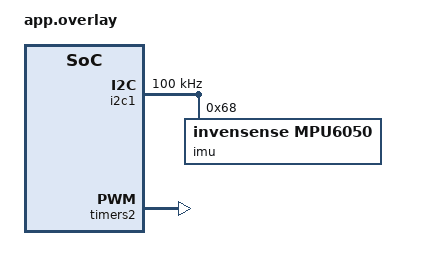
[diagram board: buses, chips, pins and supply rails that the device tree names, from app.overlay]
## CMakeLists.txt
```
# SPDX-License-Identifier: Apache-2.0

cmake_minimum_required(VERSION 3.20.0)

find_package(Zephyr REQUIRED HINTS $ENV{ZEPHYR_BASE})
project(hello_world)

target_sources(app PRIVATE
    src/main.c
    src/PI_Controller.c
)
```

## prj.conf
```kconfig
# Added automatically by Workbench for Zephyr
#--- DEBUG PRESET - BEGIN ---#
# Set to -Og
CONFIG_DEBUG_OPTIMIZATIONS=y
# Thread awareness support
CONFIG_DEBUG_THREAD_INFO=y
# Generate stack usage per-function
CONFIG_STACK_USAGE=y
# Other options in case not set by default
CONFIG_BUILD_OUTPUT_HEX=y
CONFIG_BUILD_OUTPUT_META=y
CONFIG_OUTPUT_SYMBOLS=y
CONFIG_OUTPUT_STAT=y
CONFIG_OUTPUT_DISASSEMBLY=y
CONFIG_OUTPUT_PRINT_MEMORY_USAGE=y
CONFIG_I2C=y
CONFIG_SENSOR=y
CONFIG_MPU6050_TRIGGER_NONE=y
CONFIG_CBPRINTF_FP_SUPPORT=y
CONFIG_PWM=y
#--- DEBUG PRESET - END ---#
```

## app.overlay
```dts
&i2c1{
status = "okay";
clock-frequency = <100000>;
	imu: mpu6050@68{
		status = "okay";
		compatible = "invensense,mpu6050";
		reg = <0x68>;
	};
};



&timers2{
status = "okay";

	pwm2: pwm{
		status = "okay";

		pinctrl-0 = <
		&tim2_ch1_pa0
		&tim2_ch2_pa1
		&tim2_ch3_pa2
		&tim2_ch4_pa3
		>;

		pinctrl-names = "default";
	};
};
```

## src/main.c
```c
/*
 * Copyright (c) 2012-2014 Wind River Systems, Inc.
 *
 * SPDX-License-Identifier: Apache-2.0
 */

#include <stdio.h>
#include "PI_Controller.h"
#include <zephyr/kernel.h>
#include <zephyr/drivers/sensor.h>
#include <zephyr/drivers/pwm.h>

#define CONTROL_TASK_STACK_SIZE 1024
#define CONTROL_TASK_PRIORITY 3

#define PRINT_TASK_SIZE 1024
#define PRINT_TASK_PRIORITY 7

void Control_Task(void *p1, void *p2, void *p3);
void Print_Task(void *p1, void *p2, void *p3);

struct k_thread Control_Task_TCB;
k_tid_t Control_Task_ID;

struct k_thread Print_Task_TCB;
k_tid_t Print_Task_ID;

typedef struct{
	struct sensor_value gyro[3];
	struct sensor_value acc[3];
}imu;

imu myIMU = {0};

const struct device *imu_dev = DEVICE_DT_GET_ONE(invensense_mpu6050);
const struct device *pwm_dev = DEVICE_DT_GET(DT_NODELABEL(pwm2));

K_THREAD_STACK_DEFINE(Control_Task_Stack, CONTROL_TASK_STACK_SIZE);
K_THREAD_STACK_DEFINE(Print_Task_Stack, PRINT_TASK_SIZE);

uint32_t period = PWM_HZ(50);
int pulse_width_us = 1500;

int main(void)
{
	PI_Controller_initialize();

	Control_Task_ID = k_thread_create(
		&Control_Task_TCB,
		Control_Task_Stack,
		K_THREAD_STACK_SIZEOF(Control_Task_Stack),
		Control_Task,
		NULL,
		NULL,
		NULL,
		CONTROL_TASK_PRIORITY,
		0,
		K_NO_WAIT
	);

	Print_Task_ID = k_thread_create(
		&Print_Task_TCB,
		Print_Task_Stack,
		K_THREAD_STACK_SIZEOF(Print_Task_Stack),
		Print_Task,
		NULL,
		NULL,
		NULL,
		PRINT_TASK_PRIORITY,
		0,
		K_NO_WAIT
	);


	pwm_set(
		pwm_dev,
		1,
		period,
		PWM_USEC(1500),
		PWM_POLARITY_NORMAL
	);


	return 0;
}

void Control_Task(void *p1, void *p2, void *p3){

double filtered_acc = sensor_value_to_double(&myIMU.acc[1]);

	for(;;){

	int64_t start = k_uptime_get();
	
	//Check if IMU read is successful
	if(sensor_sample_fetch(imu_dev) == 0){
		
		sensor_channel_get(
			imu_dev,
			SENSOR_CHAN_GYRO_XYZ,
			myIMU.gyro
		);
		sensor_channel_get(
			imu_dev,
			SENSOR_CHAN_ACCEL_XYZ,
			myIMU.acc
		);

	
	
	filtered_acc = (0.9 * filtered_acc) + 0.1 * (sensor_value_to_double(&myIMU.acc[1]) + 0.5);

	PI_Controller_U.Gravity_ref = 0;
	PI_Controller_U.Gravity_meas = filtered_acc;
	
	PI_Controller_step();

	pulse_width_us = 1500 - PI_Controller_Y.Out1;

	if(pulse_width_us > 1900){
		pulse_width_us = 1900;
	}

	if(pulse_width_us < 1100){
		pulse_width_us = 1100;
	}

	pwm_set(
		pwm_dev,
		1,
		period,
		PWM_USEC(pulse_width_us),
		PWM_POLARITY_NORMAL
	);
	
	}

	int64_t end = k_uptime_get();

	k_msleep(10 - (end - start));
}

}





void Print_Task(void *p1, void *p2, void *p3){
for(;;){

	printf("Pulse Width: %d us \n", pulse_width_us);

	k_msleep(1000);

}

}
```

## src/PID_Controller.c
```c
/*
 * Academic License - for use in teaching, academic research, and meeting
 * course requirements at degree granting institutions only.  Not for
 * government, commercial, or other organizational use.
 *
 * File: PID_Controller.c
 *
 * Code generated for Simulink model 'PID_Controller'.
 *
 * Model version                  : 4.6
 * Simulink Coder version         : 26.1 (R2026a) 20-Nov-2025
 * C/C++ source code generated on : Sat Aug 22 16:41:52 2026
 *
 * Target selection: ert.tlc
 * Embedded hardware selection: ARM Compatible->ARM Cortex-M
 * Code generation objectives: Unspecified
 * Validation result: Not run
 */

#include "PID_Controller.h"
#include "rtwtypes.h"
#include "PID_Controller_private.h"

/* Block states (default storage) */
DW_PID_Controller_T PID_Controller_DW;

/* External inputs (root inport signals with default storage) */
ExtU_PID_Controller_T PID_Controller_U;

/* External outputs (root outports fed by signals with default storage) */
ExtY_PID_Controller_T PID_Controller_Y;

/* Real-time model */
static RT_MODEL_PID_Controller_T PID_Controller_M_;
RT_MODEL_PID_Controller_T *const PID_Controller_M = &PID_Controller_M_;

/* Output and update for atomic system: '<Root>/PID_Controller' */
real_T PID_Controller_PID_Controller(real_T rtu_Theta_ref, real_T rtu_Theta_meas,
  DW_PID_Controller_PID_Control_T *localDW)
{
  real_T rty_Out1_0;
  real_T rtb_FilterCoefficient;
  real_T rtb_Sum_a;

  /* Sum: '<S1>/Sum' */
  rtb_Sum_a = rtu_Theta_ref - rtu_Theta_meas;

  /* Gain: '<S40>/Filter Coefficient' incorporates:
   *  DiscreteIntegrator: '<S32>/Filter'
   *  Sum: '<S32>/SumD'
   */
  rtb_FilterCoefficient = (rtb_Sum_a - localDW->Filter_DSTATE) * 100.0;

  /* Sum: '<S46>/Sum' incorporates:
   *  DiscreteIntegrator: '<S37>/Integrator'
   *  Gain: '<S42>/Proportional Gain'
   */
  rty_Out1_0 = (120.0 * rtb_Sum_a + localDW->Integrator_DSTATE);

  /* Update for DiscreteIntegrator: '<S32>/Filter' */
  localDW->Filter_DSTATE += 0.01 * rtb_FilterCoefficient;

  /* Update for DiscreteIntegrator: '<S37>/Integrator' */
  localDW->Integrator_DSTATE += 0.01 * rtb_Sum_a;
  return rty_Out1_0;
}

/* Model step function */
void PID_Controller_step(void)
{
  /* Outputs for Atomic SubSystem: '<Root>/PID_Controller' */

  /* Outport: '<Root>/Out1' incorporates:
   *  Inport: '<Root>/Theta_meas'
   *  Inport: '<Root>/Theta_ref'
   */
  PID_Controller_Y.Out1 = PID_Controller_PID_Controller
    (PID_Controller_U.Theta_ref, PID_Controller_U.Theta_meas,
     &PID_Controller_DW.PID_Controller_p);

  /* End of Outputs for SubSystem: '<Root>/PID_Controller' */
}

/* Model initialize function */
void PID_Controller_initialize(void)
{
  /* (no initialization code required) */
}

/* Model terminate function */
void PID_Controller_terminate(void)
{
  /* (no terminate code required) */
}

/*
 * File trailer for generated code.
 *
 * [EOF]
 */
```

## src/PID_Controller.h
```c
/*
 * Academic License - for use in teaching, academic research, and meeting
 * course requirements at degree granting institutions only.  Not for
 * government, commercial, or other organizational use.
 *
 * File: PID_Controller.h
 *
 * Code generated for Simulink model 'PID_Controller'.
 *
 * Model version                  : 4.6
 * Simulink Coder version         : 26.1 (R2026a) 20-Nov-2025
 * C/C++ source code generated on : Sat Aug 22 16:41:52 2026
 *
 * Target selection: ert.tlc
 * Embedded hardware selection: ARM Compatible->ARM Cortex-M
 * Code generation objectives: Unspecified
 * Validation result: Not run
 */

#ifndef PID_Controller_h_
#define PID_Controller_h_
#ifndef PID_Controller_COMMON_INCLUDES_
#define PID_Controller_COMMON_INCLUDES_
#include "rtwtypes.h"
#include "math.h"
#endif                                 /* PID_Controller_COMMON_INCLUDES_ */

#include "PID_Controller_types.h"

/* Macros for accessing real-time model data structure */
#ifndef rtmGetErrorStatus
#define rtmGetErrorStatus(rtm)         ((rtm)->errorStatus)
#endif

#ifndef rtmSetErrorStatus
#define rtmSetErrorStatus(rtm, val)    ((rtm)->errorStatus = (val))
#endif

/* Block states (default storage) for system '<Root>/PID_Controller' */
typedef struct {
  real_T Filter_DSTATE;                /* '<S32>/Filter' */
  real_T Integrator_DSTATE;            /* '<S37>/Integrator' */
} DW_PID_Controller_PID_Control_T;

/* Block states (default storage) for system '<Root>' */
typedef struct {
  DW_PID_Controller_PID_Control_T PID_Controller_p;/* '<Root>/PID_Controller' */
} DW_PID_Controller_T;

/* External inputs (root inport signals with default storage) */
typedef struct {
  real_T Theta_ref;                    /* '<Root>/Theta_ref' */
  real_T Theta_meas;                   /* '<Root>/Theta_meas' */
} ExtU_PID_Controller_T;

/* External outputs (root outports fed by signals with default storage) */
typedef struct {
  real_T Out1;                         /* '<Root>/Out1' */
} ExtY_PID_Controller_T;

/* Real-time Model Data Structure */
struct tag_RTM_PID_Controller_T {
  const char_T * volatile errorStatus;
};

/* Block states (default storage) */
extern DW_PID_Controller_T PID_Controller_DW;

/* External inputs (root inport signals with default storage) */
extern ExtU_PID_Controller_T PID_Controller_U;

/* External outputs (root outports fed by signals with default storage) */
extern ExtY_PID_Controller_T PID_Controller_Y;

/* Model entry point functions */
extern void PID_Controller_initialize(void);
extern void PID_Controller_step(void);
extern void PID_Controller_terminate(void);

/* Real-time Model object */
extern RT_MODEL_PID_Controller_T *const PID_Controller_M;

/*-
 * These blocks were eliminated from the model due to optimizations:
 *
 * Block '<S30>/Derivative Gain' : Eliminated nontunable gain of 1
 * Block '<S34>/Integral Gain' : Eliminated nontunable gain of 1
 */

/*-
 * The generated code includes comments that allow you to trace directly
 * back to the appropriate location in the model.  The basic format
 * is <system>/block_name, where system is the system number (uniquely
 * assigned by Simulink) and block_name is the name of the block.
 *
 * Note that this particular code originates from a subsystem build,
 * and has its own system numbers different from the parent model.
 * Refer to the system hierarchy for this subsystem below, and use the
 * MATLAB hilite_system command to trace the generated code back
 * to the parent model.  For example,
 *
 * hilite_system('QuadCopter_Cascade_PID/PID_Controller')    - opens subsystem QuadCopter_Cascade_PID/PID_Controller
 * hilite_system('QuadCopter_Cascade_PID/PID_Controller/Kp') - opens and selects block Kp
 *
 * Here is the system hierarchy for this model
 *
 * '<Root>' : 'QuadCopter_Cascade_PID'
 * '<S1>'   : 'QuadCopter_Cascade_PID/PID_Controller'
 * '<S2>'   : 'QuadCopter_Cascade_PID/PID_Controller/PID Controller'
 * '<S3>'   : 'QuadCopter_Cascade_PID/PID_Controller/PID Controller/Anti-windup'
 * '<S4>'   : 'QuadCopter_Cascade_PID/PID_Controller/PID Controller/D Gain'
 * '<S5>'   : 'QuadCopter_Cascade_PID/PID_Controller/PID Controller/External Derivative'
 * '<S6>'   : 'QuadCopter_Cascade_PID/PID_Controller/PID Controller/Filter'
 * '<S7>'   : 'QuadCopter_Cascade_PID/PID_Controller/PID Controller/Filter ICs'
 * '<S8>'   : 'QuadCopter_Cascade_PID/PID_Controller/PID Controller/I Gain'
 * '<S9>'   : 'QuadCopter_Cascade_PID/PID_Controller/PID Controller/Ideal P Gain'
 * '<S10>'  : 'QuadCopter_Cascade_PID/PID_Controller/PID Controller/Ideal P Gain Fdbk'
 * '<S11>'  : 'QuadCopter_Cascade_PID/PID_Controller/PID Controller/Integrator'
 * '<S12>'  : 'QuadCopter_Cascade_PID/PID_Controller/PID Controller/Integrator ICs'
 * '<S13>'  : 'QuadCopter_Cascade_PID/PID_Controller/PID Controller/N Copy'
 * '<S14>'  : 'QuadCopter_Cascade_PID/PID_Controller/PID Controller/N Gain'
 * '<S15>'  : 'QuadCopter_Cascade_PID/PID_Controller/PID Controller/P Copy'
 * '<S16>'  : 'QuadCopter_Cascade_PID/PID_Controller/PID Controller/Parallel P Gain'
 * '<S17>'  : 'QuadCopter_Cascade_PID/PID_Controller/PID Controller/Reset Signal'
 * '<S18>'  : 'QuadCopter_Cascade_PID/PID_Controller/PID Controller/Saturation'
 * '<S19>'  : 'QuadCopter_Cascade_PID/PID_Controller/PID Controller/Saturation Fdbk'
 * '<S20>'  : 'QuadCopter_Cascade_PID/PID_Controller/PID Controller/Sum'
 * '<S21>'  : 'QuadCopter_Cascade_PID/PID_Controller/PID Controller/Sum Fdbk'
 * '<S22>'  : 'QuadCopter_Cascade_PID/PID_Controller/PID Controller/Tracking Mode'
 * '<S23>'  : 'QuadCopter_Cascade_PID/PID_Controller/PID Controller/Tracking Mode Sum'
 * '<S24>'  : 'QuadCopter_Cascade_PID/PID_Controller/PID Controller/Tsamp - Integral'
 * '<S25>'  : 'QuadCopter_Cascade_PID/PID_Controller/PID Controller/Tsamp - Ngain'
 * '<S26>'  : 'QuadCopter_Cascade_PID/PID_Controller/PID Controller/postSat Signal'
 * '<S27>'  : 'QuadCopter_Cascade_PID/PID_Controller/PID Controller/preInt Signal'
 * '<S28>'  : 'QuadCopter_Cascade_PID/PID_Controller/PID Controller/preSat Signal'
 * '<S29>'  : 'QuadCopter_Cascade_PID/PID_Controller/PID Controller/Anti-windup/Passthrough'
 * '<S30>'  : 'QuadCopter_Cascade_PID/PID_Controller/PID Controller/D Gain/Internal Parameters'
 * '<S31>'  : 'QuadCopter_Cascade_PID/PID_Controller/PID Controller/External Derivative/Error'
 * '<S32>'  : 'QuadCopter_Cascade_PID/PID_Controller/PID Controller/Filter/Disc. Forward Euler Filter'
 * '<S33>'  : 'QuadCopter_Cascade_PID/PID_Controller/PID Controller/Filter ICs/Internal IC - Filter'
 * '<S34>'  : 'QuadCopter_Cascade_PID/PID_Controller/PID Controller/I Gain/Internal Parameters'
 * '<S35>'  : 'QuadCopter_Cascade_PID/PID_Controller/PID Controller/Ideal P Gain/Passthrough'
 * '<S36>'  : 'QuadCopter_Cascade_PID/PID_Controller/PID Controller/Ideal P Gain Fdbk/Disabled'
 * '<S37>'  : 'QuadCopter_Cascade_PID/PID_Controller/PID Controller/Integrator/Discrete'
 * '<S38>'  : 'QuadCopter_Cascade_PID/PID_Controller/PID Controller/Integrator ICs/Internal IC'
 * '<S39>'  : 'QuadCopter_Cascade_PID/PID_Controller/PID Controller/N Copy/Disabled'
 * '<S40>'  : 'QuadCopter_Cascade_PID/PID_Controller/PID Controller/N Gain/Internal Parameters'
 * '<S41>'  : 'QuadCopter_Cascade_PID/PID_Controller/PID Controller/P Copy/Disabled'
 * '<S42>'  : 'QuadCopter_Cascade_PID/PID_Controller/PID Controller/Parallel P Gain/Internal Parameters'
 * '<S43>'  : 'QuadCopter_Cascade_PID/PID_Controller/PID Controller/Reset Signal/Disabled'
 * '<S44>'  : 'QuadCopter_Cascade_PID/PID_Controller/PID Controller/Saturation/Passthrough'
 * '<S45>'  : 'QuadCopter_Cascade_PID/PID_Controller/PID Controller/Saturation Fdbk/Disabled'
 * '<S46>'  : 'QuadCopter_Cascade_PID/PID_Controller/PID Controller/Sum/Sum_PID'
 * '<S47>'  : 'QuadCopter_Cascade_PID/PID_Controller/PID Controller/Sum Fdbk/Disabled'
 * '<S48>'  : 'QuadCopter_Cascade_PID/PID_Controller/PID Controller/Tracking Mode/Disabled'
 * '<S49>'  : 'QuadCopter_Cascade_PID/PID_Controller/PID Controller/Tracking Mode Sum/Passthrough'
 * '<S50>'  : 'QuadCopter_Cascade_PID/PID_Controller/PID Controller/Tsamp - Integral/TsSignalSpecification'
 * '<S51>'  : 'QuadCopter_Cascade_PID/PID_Controller/PID Controller/Tsamp - Ngain/Passthrough'
 * '<S52>'  : 'QuadCopter_Cascade_PID/PID_Controller/PID Controller/postSat Signal/Forward_Path'
 * '<S53>'  : 'QuadCopter_Cascade_PID/PID_Controller/PID Controller/preInt Signal/Internal PreInt'
 * '<S54>'  : 'QuadCopter_Cascade_PID/PID_Controller/PID Controller/preSat Signal/Forward_Path'
 */
#endif                                 /* PID_Controller_h_ */

/*
 * File trailer for generated code.
 *
 * [EOF]
 */
```

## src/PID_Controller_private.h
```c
/*
 * Academic License - for use in teaching, academic research, and meeting
 * course requirements at degree granting institutions only.  Not for
 * government, commercial, or other organizational use.
 *
 * File: PID_Controller_private.h
 *
 * Code generated for Simulink model 'PID_Controller'.
 *
 * Model version                  : 4.6
 * Simulink Coder version         : 26.1 (R2026a) 20-Nov-2025
 * C/C++ source code generated on : Sat Aug 22 16:41:52 2026
 *
 * Target selection: ert.tlc
 * Embedded hardware selection: ARM Compatible->ARM Cortex-M
 * Code generation objectives: Unspecified
 * Validation result: Not run
 */

#ifndef PID_Controller_private_h_
#define PID_Controller_private_h_
#include "rtwtypes.h"
#include "PID_Controller.h"
#include "PID_Controller_types.h"

extern real_T PID_Controller_PID_Controller(real_T rtu_Theta_ref, real_T
  rtu_Theta_meas, DW_PID_Controller_PID_Control_T *localDW);

#endif                                 /* PID_Controller_private_h_ */

/*
 * File trailer for generated code.
 *
 * [EOF]
 */
```

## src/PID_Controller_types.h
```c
/*
 * Academic License - for use in teaching, academic research, and meeting
 * course requirements at degree granting institutions only.  Not for
 * government, commercial, or other organizational use.
 *
 * File: PID_Controller_types.h
 *
 * Code generated for Simulink model 'PID_Controller'.
 *
 * Model version                  : 4.6
 * Simulink Coder version         : 26.1 (R2026a) 20-Nov-2025
 * C/C++ source code generated on : Sat Aug 22 16:41:52 2026
 *
 * Target selection: ert.tlc
 * Embedded hardware selection: ARM Compatible->ARM Cortex-M
 * Code generation objectives: Unspecified
 * Validation result: Not run
 */

#ifndef PID_Controller_types_h_
#define PID_Controller_types_h_

/* Forward declaration for rtModel */
typedef struct tag_RTM_PID_Controller_T RT_MODEL_PID_Controller_T;

#endif                                 /* PID_Controller_types_h_ */

/*
 * File trailer for generated code.
 *
 * [EOF]
 */
```

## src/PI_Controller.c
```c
/*
 * Academic License - for use in teaching, academic research, and meeting
 * course requirements at degree granting institutions only.  Not for
 * government, commercial, or other organizational use.
 *
 * File: PI_Controller.c
 *
 * Code generated for Simulink model 'PI_Controller'.
 *
 * Model version                  : 4.7
 * Simulink Coder version         : 26.1 (R2026a) 20-Nov-2025
 * C/C++ source code generated on : Sun Aug 23 11:51:17 2026
 *
 * Target selection: ert.tlc
 * Embedded hardware selection: ARM Compatible->ARM Cortex-M
 * Code generation objectives: Unspecified
 * Validation result: Not run
 */

#include "PI_Controller.h"
#include "rtwtypes.h"
#include "PI_Controller_private.h"

/* Block states (default storage) */
DW_PI_Controller_T PI_Controller_DW;

/* External inputs (root inport signals with default storage) */
ExtU_PI_Controller_T PI_Controller_U;

/* External outputs (root outports fed by signals with default storage) */
ExtY_PI_Controller_T PI_Controller_Y;

/* Real-time model */
static RT_MODEL_PI_Controller_T PI_Controller_M_;
RT_MODEL_PI_Controller_T *const PI_Controller_M = &PI_Controller_M_;

/* Output and update for atomic system: '<Root>/PI_Controller' */
real_T PI_Controller_PI_Controller(real_T rtu_Gravity_ref, real_T
  rtu_Gravity_meas, DW_PI_Controller_PI_Controlle_T *localDW)
{
  real_T rty_Out1_0;
  real_T rtb_FilterCoefficient;
  real_T rtb_Sum_a;

  /* Sum: '<S1>/Sum' */
  rtb_Sum_a = rtu_Gravity_ref - rtu_Gravity_meas;

  /* Gain: '<S40>/Filter Coefficient' incorporates:
   *  DiscreteIntegrator: '<S32>/Filter'
   *  Gain: '<S30>/Derivative Gain'
   *  Sum: '<S32>/SumD'
   */
  rtb_FilterCoefficient = (0.0 * rtb_Sum_a - localDW->Filter_DSTATE) * 100.0;

  /* Sum: '<S46>/Sum' incorporates:
   *  DiscreteIntegrator: '<S37>/Integrator'
   *  Gain: '<S42>/Proportional Gain'
   */
  rty_Out1_0 = (120.0 * rtb_Sum_a + localDW->Integrator_DSTATE) +
    rtb_FilterCoefficient;

  /* Update for DiscreteIntegrator: '<S32>/Filter' */
  localDW->Filter_DSTATE += 0.01 * rtb_FilterCoefficient;

  /* Update for DiscreteIntegrator: '<S37>/Integrator' */
  localDW->Integrator_DSTATE += 0.01 * rtb_Sum_a;
  return rty_Out1_0;
}

/* Model step function */
void PI_Controller_step(void)
{
  /* Outputs for Atomic SubSystem: '<Root>/PI_Controller' */

  /* Outport: '<Root>/Out1' incorporates:
   *  Inport: '<Root>/Gravity_meas'
   *  Inport: '<Root>/Gravity_ref'
   */
  PI_Controller_Y.Out1 = PI_Controller_PI_Controller(PI_Controller_U.Gravity_ref,
    PI_Controller_U.Gravity_meas, &PI_Controller_DW.PI_Controller_p);

  /* End of Outputs for SubSystem: '<Root>/PI_Controller' */
}

/* Model initialize function */
void PI_Controller_initialize(void)
{
  /* (no initialization code required) */
}

/* Model terminate function */
void PI_Controller_terminate(void)
{
  /* (no terminate code required) */
}

/*
 * File trailer for generated code.
 *
 * [EOF]
 */
```

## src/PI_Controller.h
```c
/*
 * Academic License - for use in teaching, academic research, and meeting
 * course requirements at degree granting institutions only.  Not for
 * government, commercial, or other organizational use.
 *
 * File: PI_Controller.h
 *
 * Code generated for Simulink model 'PI_Controller'.
 *
 * Model version                  : 4.7
 * Simulink Coder version         : 26.1 (R2026a) 20-Nov-2025
 * C/C++ source code generated on : Sun Aug 23 11:51:17 2026
 *
 * Target selection: ert.tlc
 * Embedded hardware selection: ARM Compatible->ARM Cortex-M
 * Code generation objectives: Unspecified
 * Validation result: Not run
 */

#ifndef PI_Controller_h_
#define PI_Controller_h_
#ifndef PI_Controller_COMMON_INCLUDES_
#define PI_Controller_COMMON_INCLUDES_
#include "rtwtypes.h"
#include "math.h"
#endif                                 /* PI_Controller_COMMON_INCLUDES_ */

#include "PI_Controller_types.h"

/* Macros for accessing real-time model data structure */
#ifndef rtmGetErrorStatus
#define rtmGetErrorStatus(rtm)         ((rtm)->errorStatus)
#endif

#ifndef rtmSetErrorStatus
#define rtmSetErrorStatus(rtm, val)    ((rtm)->errorStatus = (val))
#endif

/* Block states (default storage) for system '<Root>/PI_Controller' */
typedef struct {
  real_T Filter_DSTATE;                /* '<S32>/Filter' */
  real_T Integrator_DSTATE;            /* '<S37>/Integrator' */
} DW_PI_Controller_PI_Controlle_T;

/* Block states (default storage) for system '<Root>' */
typedef struct {
  DW_PI_Controller_PI_Controlle_T PI_Controller_p;/* '<Root>/PI_Controller' */
} DW_PI_Controller_T;

/* External inputs (root inport signals with default storage) */
typedef struct {
  real_T Gravity_ref;                  /* '<Root>/Gravity_ref' */
  real_T Gravity_meas;                 /* '<Root>/Gravity_meas' */
} ExtU_PI_Controller_T;

/* External outputs (root outports fed by signals with default storage) */
typedef struct {
  real_T Out1;                         /* '<Root>/Out1' */
} ExtY_PI_Controller_T;

/* Real-time Model Data Structure */
struct tag_RTM_PI_Controller_T {
  const char_T * volatile errorStatus;
};

/* Block states (default storage) */
extern DW_PI_Controller_T PI_Controller_DW;

/* External inputs (root inport signals with default storage) */
extern ExtU_PI_Controller_T PI_Controller_U;

/* External outputs (root outports fed by signals with default storage) */
extern ExtY_PI_Controller_T PI_Controller_Y;

/* Model entry point functions */
extern void PI_Controller_initialize(void);
extern void PI_Controller_step(void);
extern void PI_Controller_terminate(void);

/* Real-time Model object */
extern RT_MODEL_PI_Controller_T *const PI_Controller_M;

/*-
 * These blocks were eliminated from the model due to optimizations:
 *
 * Block '<S34>/Integral Gain' : Eliminated nontunable gain of 1
 */

/*-
 * The generated code includes comments that allow you to trace directly
 * back to the appropriate location in the model.  The basic format
 * is <system>/block_name, where system is the system number (uniquely
 * assigned by Simulink) and block_name is the name of the block.
 *
 * Note that this particular code originates from a subsystem build,
 * and has its own system numbers different from the parent model.
 * Refer to the system hierarchy for this subsystem below, and use the
 * MATLAB hilite_system command to trace the generated code back
 * to the parent model.  For example,
 *
 * hilite_system('Gimbal_PI/PI_Controller')    - opens subsystem Gimbal_PI/PI_Controller
 * hilite_system('Gimbal_PI/PI_Controller/Kp') - opens and selects block Kp
 *
 * Here is the system hierarchy for this model
 *
 * '<Root>' : 'Gimbal_PI'
 * '<S1>'   : 'Gimbal_PI/PI_Controller'
 * '<S2>'   : 'Gimbal_PI/PI_Controller/PID Controller'
 * '<S3>'   : 'Gimbal_PI/PI_Controller/PID Controller/Anti-windup'
 * '<S4>'   : 'Gimbal_PI/PI_Controller/PID Controller/D Gain'
 * '<S5>'   : 'Gimbal_PI/PI_Controller/PID Controller/External Derivative'
 * '<S6>'   : 'Gimbal_PI/PI_Controller/PID Controller/Filter'
 * '<S7>'   : 'Gimbal_PI/PI_Controller/PID Controller/Filter ICs'
 * '<S8>'   : 'Gimbal_PI/PI_Controller/PID Controller/I Gain'
 * '<S9>'   : 'Gimbal_PI/PI_Controller/PID Controller/Ideal P Gain'
 * '<S10>'  : 'Gimbal_PI/PI_Controller/PID Controller/Ideal P Gain Fdbk'
 * '<S11>'  : 'Gimbal_PI/PI_Controller/PID Controller/Integrator'
 * '<S12>'  : 'Gimbal_PI/PI_Controller/PID Controller/Integrator ICs'
 * '<S13>'  : 'Gimbal_PI/PI_Controller/PID Controller/N Copy'
 * '<S14>'  : 'Gimbal_PI/PI_Controller/PID Controller/N Gain'
 * '<S15>'  : 'Gimbal_PI/PI_Controller/PID Controller/P Copy'
 * '<S16>'  : 'Gimbal_PI/PI_Controller/PID Controller/Parallel P Gain'
 * '<S17>'  : 'Gimbal_PI/PI_Controller/PID Controller/Reset Signal'
 * '<S18>'  : 'Gimbal_PI/PI_Controller/PID Controller/Saturation'
 * '<S19>'  : 'Gimbal_PI/PI_Controller/PID Controller/Saturation Fdbk'
 * '<S20>'  : 'Gimbal_PI/PI_Controller/PID Controller/Sum'
 * '<S21>'  : 'Gimbal_PI/PI_Controller/PID Controller/Sum Fdbk'
 * '<S22>'  : 'Gimbal_PI/PI_Controller/PID Controller/Tracking Mode'
 * '<S23>'  : 'Gimbal_PI/PI_Controller/PID Controller/Tracking Mode Sum'
 * '<S24>'  : 'Gimbal_PI/PI_Controller/PID Controller/Tsamp - Integral'
 * '<S25>'  : 'Gimbal_PI/PI_Controller/PID Controller/Tsamp - Ngain'
 * '<S26>'  : 'Gimbal_PI/PI_Controller/PID Controller/postSat Signal'
 * '<S27>'  : 'Gimbal_PI/PI_Controller/PID Controller/preInt Signal'
 * '<S28>'  : 'Gimbal_PI/PI_Controller/PID Controller/preSat Signal'
 * '<S29>'  : 'Gimbal_PI/PI_Controller/PID Controller/Anti-windup/Passthrough'
 * '<S30>'  : 'Gimbal_PI/PI_Controller/PID Controller/D Gain/Internal Parameters'
 * '<S31>'  : 'Gimbal_PI/PI_Controller/PID Controller/External Derivative/Error'
 * '<S32>'  : 'Gimbal_PI/PI_Controller/PID Controller/Filter/Disc. Forward Euler Filter'
 * '<S33>'  : 'Gimbal_PI/PI_Controller/PID Controller/Filter ICs/Internal IC - Filter'
 * '<S34>'  : 'Gimbal_PI/PI_Controller/PID Controller/I Gain/Internal Parameters'
 * '<S35>'  : 'Gimbal_PI/PI_Controller/PID Controller/Ideal P Gain/Passthrough'
 * '<S36>'  : 'Gimbal_PI/PI_Controller/PID Controller/Ideal P Gain Fdbk/Disabled'
 * '<S37>'  : 'Gimbal_PI/PI_Controller/PID Controller/Integrator/Discrete'
 * '<S38>'  : 'Gimbal_PI/PI_Controller/PID Controller/Integrator ICs/Internal IC'
 * '<S39>'  : 'Gimbal_PI/PI_Controller/PID Controller/N Copy/Disabled'
 * '<S40>'  : 'Gimbal_PI/PI_Controller/PID Controller/N Gain/Internal Parameters'
 * '<S41>'  : 'Gimbal_PI/PI_Controller/PID Controller/P Copy/Disabled'
 * '<S42>'  : 'Gimbal_PI/PI_Controller/PID Controller/Parallel P Gain/Internal Parameters'
 * '<S43>'  : 'Gimbal_PI/PI_Controller/PID Controller/Reset Signal/Disabled'
 * '<S44>'  : 'Gimbal_PI/PI_Controller/PID Controller/Saturation/Passthrough'
 * '<S45>'  : 'Gimbal_PI/PI_Controller/PID Controller/Saturation Fdbk/Disabled'
 * '<S46>'  : 'Gimbal_PI/PI_Controller/PID Controller/Sum/Sum_PID'
 * '<S47>'  : 'Gimbal_PI/PI_Controller/PID Controller/Sum Fdbk/Disabled'
 * '<S48>'  : 'Gimbal_PI/PI_Controller/PID Controller/Tracking Mode/Disabled'
 * '<S49>'  : 'Gimbal_PI/PI_Controller/PID Controller/Tracking Mode Sum/Passthrough'
 * '<S50>'  : 'Gimbal_PI/PI_Controller/PID Controller/Tsamp - Integral/TsSignalSpecification'
 * '<S51>'  : 'Gimbal_PI/PI_Controller/PID Controller/Tsamp - Ngain/Passthrough'
 * '<S52>'  : 'Gimbal_PI/PI_Controller/PID Controller/postSat Signal/Forward_Path'
 * '<S53>'  : 'Gimbal_PI/PI_Controller/PID Controller/preInt Signal/Internal PreInt'
 * '<S54>'  : 'Gimbal_PI/PI_Controller/PID Controller/preSat Signal/Forward_Path'
 */
#endif                                 /* PI_Controller_h_ */

/*
 * File trailer for generated code.
 *
 * [EOF]
 */
```

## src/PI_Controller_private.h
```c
/*
 * Academic License - for use in teaching, academic research, and meeting
 * course requirements at degree granting institutions only.  Not for
 * government, commercial, or other organizational use.
 *
 * File: PI_Controller_private.h
 *
 * Code generated for Simulink model 'PI_Controller'.
 *
 * Model version                  : 4.7
 * Simulink Coder version         : 26.1 (R2026a) 20-Nov-2025
 * C/C++ source code generated on : Sun Aug 23 11:51:17 2026
 *
 * Target selection: ert.tlc
 * Embedded hardware selection: ARM Compatible->ARM Cortex-M
 * Code generation objectives: Unspecified
 * Validation result: Not run
 */

#ifndef PI_Controller_private_h_
#define PI_Controller_private_h_
#include "rtwtypes.h"
#include "PI_Controller.h"
#include "PI_Controller_types.h"

extern real_T PI_Controller_PI_Controller(real_T rtu_Gravity_ref, real_T
  rtu_Gravity_meas, DW_PI_Controller_PI_Controlle_T *localDW);

#endif                                 /* PI_Controller_private_h_ */

/*
 * File trailer for generated code.
 *
 * [EOF]
 */
```

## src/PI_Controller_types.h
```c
/*
 * Academic License - for use in teaching, academic research, and meeting
 * course requirements at degree granting institutions only.  Not for
 * government, commercial, or other organizational use.
 *
 * File: PI_Controller_types.h
 *
 * Code generated for Simulink model 'PI_Controller'.
 *
 * Model version                  : 4.7
 * Simulink Coder version         : 26.1 (R2026a) 20-Nov-2025
 * C/C++ source code generated on : Sun Aug 23 11:51:17 2026
 *
 * Target selection: ert.tlc
 * Embedded hardware selection: ARM Compatible->ARM Cortex-M
 * Code generation objectives: Unspecified
 * Validation result: Not run
 */

#ifndef PI_Controller_types_h_
#define PI_Controller_types_h_

/* Forward declaration for rtModel */
typedef struct tag_RTM_PI_Controller_T RT_MODEL_PI_Controller_T;

#endif                                 /* PI_Controller_types_h_ */

/*
 * File trailer for generated code.
 *
 * [EOF]
 */
```

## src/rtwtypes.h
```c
/*
 * Academic License - for use in teaching, academic research, and meeting
 * course requirements at degree granting institutions only.  Not for
 * government, commercial, or other organizational use.
 *
 * File: rtwtypes.h
 *
 * Code generated for Simulink model 'PI_Controller'.
 *
 * Model version                  : 4.7
 * Simulink Coder version         : 26.1 (R2026a) 20-Nov-2025
 * C/C++ source code generated on : Sun Aug 23 11:51:17 2026
 *
 * Target selection: ert.tlc
 * Embedded hardware selection: ARM Compatible->ARM Cortex-M
 * Code generation objectives: Unspecified
 * Validation result: Not run
 */

#ifndef RTWTYPES_H
#define RTWTYPES_H

/* Logical type definitions */
#if (!defined(__cplusplus))
#ifndef false
#define false                          (0U)
#endif

#ifndef true
#define true                           (1U)
#endif
#endif

/*=======================================================================*
 * Target hardware information
 *   Device type: ARM Compatible->ARM Cortex-M
 *   Number of bits:     char:   8    short:   16    int:  32
 *                       long:  32    long long:  64
 *                       native word size:  32
 *   Byte ordering: LittleEndian
 *   Signed integer division rounds to: Zero
 *   Shift right on a signed integer as arithmetic shift: on
 *=======================================================================*/

/*=======================================================================*
 * Fixed width word size data types:                                     *
 *   int8_T, int16_T, int32_T     - signed 8, 16, or 32 bit integers     *
 *   uint8_T, uint16_T, uint32_T  - unsigned 8, 16, or 32 bit integers   *
 *   real32_T, real64_T           - 32 and 64 bit floating point numbers *
 *=======================================================================*/
typedef signed char int8_T;
typedef unsigned char uint8_T;
typedef short int16_T;
typedef unsigned short uint16_T;
typedef int int32_T;
typedef unsigned int uint32_T;
typedef long long int64_T;
typedef unsigned long long uint64_T;
typedef float real32_T;
typedef double real64_T;

/*===========================================================================*
 * Generic type definitions: boolean_T, char_T, byte_T, int_T, uint_T,       *
 *                           real_T, time_T, ulong_T, ulonglong_T.           *
 *===========================================================================*/
typedef double real_T;
typedef double time_T;
typedef unsigned char boolean_T;
typedef int int_T;
typedef unsigned int uint_T;
typedef unsigned long ulong_T;
typedef unsigned long long ulonglong_T;
typedef char char_T;
typedef unsigned char uchar_T;
typedef char_T byte_T;

/*===========================================================================*
 * Complex number type definitions                                           *
 *===========================================================================*/
#define CREAL_T

typedef struct {
  real32_T re;
  real32_T im;
} creal32_T;

typedef struct {
  real64_T re;
  real64_T im;
} creal64_T;

typedef struct {
  real_T re;
  real_T im;
} creal_T;

#define CINT8_T

typedef struct {
  int8_T re;
  int8_T im;
} cint8_T;

#define CUINT8_T

typedef struct {
  uint8_T re;
  uint8_T im;
} cuint8_T;

#define CINT16_T

typedef struct {
  int16_T re;
  int16_T im;
} cint16_T;

#define CUINT16_T

typedef struct {
  uint16_T re;
  uint16_T im;
} cuint16_T;

#define CINT32_T

typedef struct {
  int32_T re;
  int32_T im;
} cint32_T;

#define CUINT32_T

typedef struct {
  uint32_T re;
  uint32_T im;
} cuint32_T;

#define CINT64_T

typedef struct {
  int64_T re;
  int64_T im;
} cint64_T;

#define CUINT64_T

typedef struct {
  uint64_T re;
  uint64_T im;
} cuint64_T;

/*=======================================================================*
 * Min and Max:                                                          *
 *   int8_T, int16_T, int32_T     - signed 8, 16, or 32 bit integers     *
 *   uint8_T, uint16_T, uint32_T  - unsigned 8, 16, or 32 bit integers   *
 *=======================================================================*/
#define MAX_int8_T                     ((int8_T)(127))
#define MIN_int8_T                     ((int8_T)(-128))
#define MAX_uint8_T                    ((uint8_T)(255U))
#define MAX_int16_T                    ((int16_T)(32767))
#define MIN_int16_T                    ((int16_T)(-32768))
#define MAX_uint16_T                   ((uint16_T)(65535U))
#define MAX_int32_T                    ((int32_T)(2147483647))
#define MIN_int32_T                    ((int32_T)(-2147483647-1))
#define MAX_uint32_T                   ((uint32_T)(0xFFFFFFFFU))
#define MAX_int64_T                    ((int64_T)(9223372036854775807LL))
#define MIN_int64_T                    ((int64_T)(-9223372036854775807LL-1LL))
#define MAX_uint64_T                   ((uint64_T)(0xFFFFFFFFFFFFFFFFULL))

/* Block D-Work pointer type */
typedef void * pointer_T;

#endif                                 /* RTWTYPES_H */

/*
 * File trailer for generated code.
 *
 * [EOF]
 */
```
